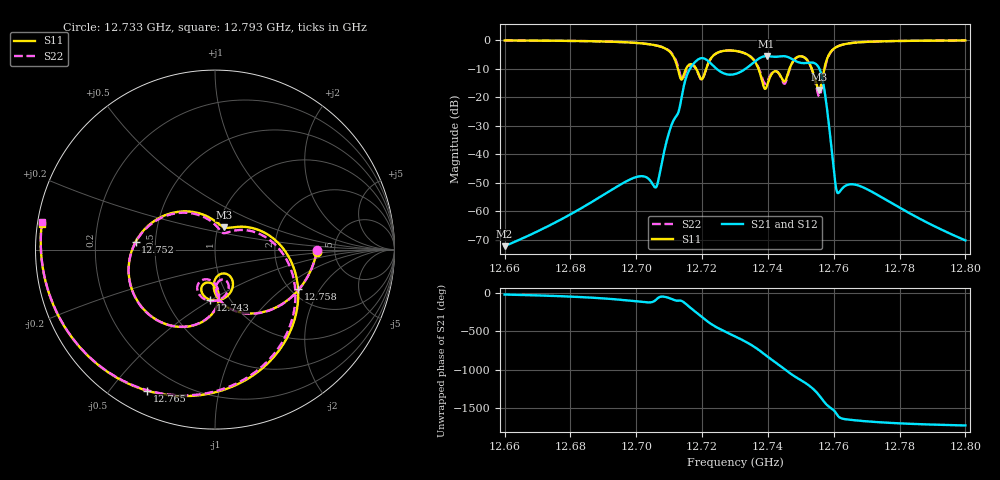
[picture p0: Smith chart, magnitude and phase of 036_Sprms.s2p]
! TOUCHSTONE file generated by CST MICROWAVE STUDIO
! Date and time: Wed Jul 31 12:28:50 2024
! Project name: WaveGuide_BPF-Ver4.1_U-shape_Ku_T3_C4_CWA_2.cst
! Parameters = {cavity_h=16; cavity_l0=10; cavity_l1=15.2132; cavity_l2=16.8326; cavity_l3=17.0798; cavity_l4=17.2691; cavity_l5=17.0987; cavity_l6=17.578; cavity_r=2.5; cavity_screw_l=0.5; cavity_screw_r=1.5; cavity_w=8; iris_h00=0; iris_h01=8.8023; iris_h112=0; iris_h12=5.6069; iris_h211=3.6598; i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
! Header version: 2018
! Port assignment regex: !\s*Touchstone port\s*([0-9]+)\s*=\s*(CST MWS port|CST DS port)\s*([0-9]+|Zmin|Zmax)\s*\(\"(.*)\"\)(\s*mode\s*([0-9]+))?.*
! Touchstone port assignment:
! Touchstone port 1 = CST MWS port 1 ("")
! Touchstone port 2 = CST MWS port 2 ("")
# GHz S RI R 50
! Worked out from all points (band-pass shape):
!   5001 points, 12.66 GHz to 12.8 GHz, reference 50 ohm
!   highest |S21| = -5.67 dB at 12.74 GHz (marker M1); lowest = -72.2 dB at 12.66 GHz (marker M2)
!   |S21| within 3 dB of the highest: 12.71715 GHz to 12.72305 GHz (5.905 MHz wide, 0.0464 % of centre); 12.73482 GHz to 12.75484 GHz (20.02 MHz wide, 0.157 % of centre)
!   lowest |S11| = -17.4 dB at 12.756 GHz (marker M3), VSWR 1.31, Z = 53.5 + j13.6 ohm
!   |S11| at or under -10 dB: 12.71817 GHz to 12.72125 GHz (3.079 MHz wide, 0.0242 % of centre); 12.7371 GHz to 12.7466 GHz (9.501 MHz wide, 0.0746 % of centre); 12.7533 GHz to 12.75714 GHz (3.844 MHz wide, 0.0301 % of centre) (the widest 3 of 4)
!   |S22| runs from -19.8 to -0.2 dB; largest |S21 - S12| = 1e-09
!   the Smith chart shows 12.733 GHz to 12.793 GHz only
!   S11 on the Smith chart (normalised r, x): 12.733 GHz: 3.61, -0.15; 12.743 GHz: 0.81, -0.49; 12.752 GHz: 0.39, +0.04; 12.758 GHz: 2.20, -1.29; 12.765 GHz: 0.09, -0.62; 12.793 GHz: 0.01, +0.07
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12.66  0.3198 0.9271  0.000224 -9.64e-05  0.000224 -9.64e-05  0.3295 0.9236
12.68335  0.7405 0.6076  0.000626 -0.000946  0.000626 -0.000946  0.7501 0.5951
12.6985  0.8879 -0.1499  -0.000951 -0.00356  -0.000951 -0.00356  0.8829 -0.1734
12.70668  0.2403 -0.7488  0.00142 -0.0031  0.00142 -0.0031  0.2185 -0.7575
12.71317  -0.0834 0.2237  -0.0127 -0.0638  -0.0127 -0.0638  -0.1364 0.2315
12.71695  -0.1123 -0.3571  -0.3003 0.1918  -0.3003 0.1918  -0.0981 -0.35
12.72101  -0.185 -0.2205  0.4593 0.0589  0.4593 0.0589  -0.1774 -0.2226
12.7251  -0.5615 0.245  -0.0682 -0.2828  -0.0682 -0.2828  -0.567 0.2325
12.73  0.2502 0.5947  -0.228 0.1093  -0.228 0.1093  0.2382 0.5989
12.73347  0.5662 -0.0139  0.0631 0.3146  0.0631 0.3146  0.5677 -0.00428
12.7396  0.0666 -0.1364  -0.0867 -0.5134  -0.0867 -0.5134  0.0573 -0.1705
12.74268  -0.0275 -0.2794  -0.488 0.1423  -0.488 0.1423  -0.0604 -0.275
12.7473  -0.0488 -0.389  0.4421 0.1384  0.4421 0.1384  -0.0463 -0.3849
12.75192  -0.4427 0.0426  -0.1129 -0.3808  -0.1129 -0.3808  -0.4428 0.0397
12.75335  -0.2323 0.2058  -0.3603 -0.1797  -0.3603 -0.1797  -0.2284 0.2002
12.75554  0.0501 0.1247  -0.1106 0.3028  -0.1106 0.3028  0.0406 0.0944
12.75825  0.4627 -0.2172  0.0396 -0.0218  0.0396 -0.0218  0.4463 -0.2162
12.761  0.122 -0.7521  -0.00172 -0.00133  -0.00172 -0.00133  0.1013 -0.7544
12.76466  -0.3803 -0.7853  -0.00261 0.00136  -0.00261 0.00136  -0.4005 -0.7765
12.77668  -0.9089 -0.2879  -0.000556 0.00138  -0.000556 0.00138  -0.9141 -0.2735
12.79278  -0.9657 0.1421  4.01e-05 0.000473  4.01e-05 0.000473  -0.9643 0.1528
12.8  -0.9439 0.2654  6.69e-05 0.0003  6.69e-05 0.0003  -0.9415 0.2749
